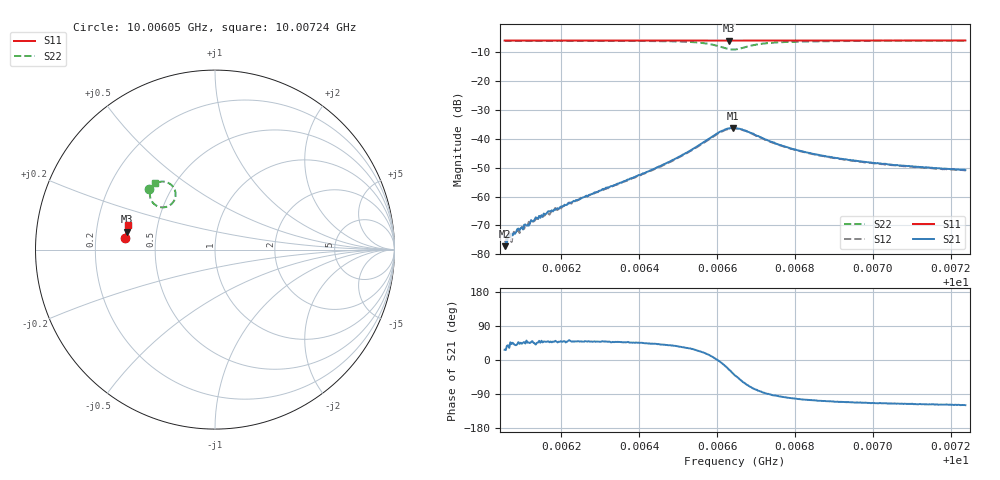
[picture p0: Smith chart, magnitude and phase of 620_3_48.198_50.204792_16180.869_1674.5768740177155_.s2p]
#  HZ  S  RI  R  50.00
! Rohde & Schwarz Vector Network Analyzer
! Rohde-Schwarz,ZNB20-2Port,1311601062101988,3.16
! Created: UTC 3/20/2024, 12:03:53 PM
! freq[Hz]  re:S11  im:S11  re:S21  im:S21  re:S12  im:S12  re:S22  im:S22
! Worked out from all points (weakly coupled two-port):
!   401 points, 10.00605 GHz to 10.00724 GHz, reference 50 ohm
!   highest |S21| = -36.19 dB at 10.00664 GHz (marker M1); lowest = -77.2 dB at 10.00605 GHz (marker M2)
!   lowest |S11| = -6.0 dB at 10.00663 GHz (marker M3), VSWR 3.02, Z = 16.7 + j4.5 ohm
!   |S11| at or under -10 dB: nowhere
!   |S22| runs from -9.1 to -6.0 dB; largest |S21 - S12| = 0.0012
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1.0006054e10  -0.4992 0.064  0.000123 6.31e-05  0.000123 0.000121  -0.3652 0.3395
1.0006063e10  -0.499 0.0645  0.000167 0.000134  0.000176 0.000155  -0.3648 0.3402
1.0006069e10  -0.499 0.0651  0.000135 0.000144  0.00016 0.00016  -0.3643 0.3405
1.0006078e10  -0.4989 0.0655  0.000174 0.000157  0.000192 0.000153  -0.3637 0.3411
1.0006084e10  -0.4989 0.0659  0.00019 0.000154  0.000177 0.000196  -0.3634 0.3415
1.0006113e10  -0.4986 0.0678  0.000222 0.000227  0.000204 0.000244  -0.3615 0.3434
1.0006128e10  -0.4986 0.0687  0.000265 0.000272  0.000244 0.000276  -0.3604 0.3445
1.0006169e10  -0.4982 0.0716  0.000383 0.000408  0.000308 0.000378  -0.3576 0.3474
1.0006252e10  -0.4976 0.077  0.000625 0.000711  0.000589 0.000721  -0.3511 0.3539
1.0006451e10  -0.4956 0.09  0.00247 0.00223  0.00229 0.00227  -0.3216 0.3731
1.0006522e10  -0.4947 0.0947  0.00488 0.00303  0.00463 0.0032  -0.2937 0.3792
1.0006569e10  -0.4939 0.0977  0.00861 0.0028  0.00823 0.00318  -0.2576 0.3703
1.0006604e10  -0.493 0.0998  0.0129 -0.000554  0.0125 0.000218  -0.2237 0.3316
1.0006631e10  -0.4924 0.1008  0.0135 -0.00656  0.0138 -0.00566  -0.2273 0.2741
1.000664e10  -0.4924 0.1012  0.0127 -0.00883  0.0131 -0.0078  -0.24 0.2562
1.0006646e10  -0.4924 0.1014  0.0117 -0.0101  0.0122 -0.00907  -0.2514 0.247
1.0006672e10  -0.4927 0.1026  0.00641 -0.0123  0.00704 -0.0118  -0.3068 0.2369
1.0006714e10  -0.4927 0.1053  0.00115 -0.0104  0.00163 -0.0103  -0.3516 0.2687
1.0006767e10  -0.4924 0.1091  -0.00095 -0.00754  -0.000596 -0.00749  -0.3625 0.3031
1.0006844e10  -0.4915 0.1142  -0.00152 -0.00531  -0.00123 -0.00533  -0.3595 0.329
1.0007042e10  -0.4888 0.1269  -0.00151 -0.00328  -0.00132 -0.0033  -0.3453 0.3575
1.0007238e10  -0.4859 0.1392  -0.0014 -0.00251  -0.00126 -0.00252  -0.3332 0.3725
